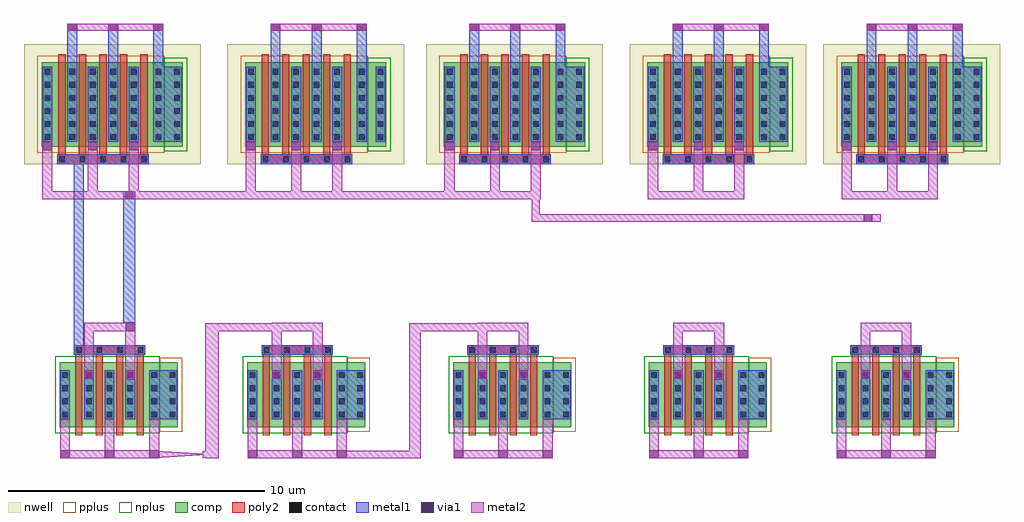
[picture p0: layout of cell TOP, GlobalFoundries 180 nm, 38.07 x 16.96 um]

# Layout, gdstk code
import gdstk
lib = gdstk.Library(unit=1e-6, precision=5e-09)
def R(c, l, rs):  # rectangles x0, y0, x1, y1
    for r in rs: c.add(gdstk.rectangle(r[:2], r[2:], *l))
def A(c, l, x, y, w, h, nx, ny, dx, dy):  # array of equal rectangles
    R(c, l, [(x+i*dx, y+j*dy, x+i*dx+w, y+j*dy+h) for i in range(nx) for j in range(ny)])
nwell = (21, 0)
comp = (22, 0)
poly2 = (30, 0)
pplus = (31, 0)
nplus = (32, 0)
contact = (33, 0)
metal1 = (34, 0)
via1 = (35, 0)
metal2 = (36, 0)

nfet_1 = lib.new_cell('nfet$1')
R(nfet_1, comp, [(-0.42,0,0,2.54), (0,0,3.06,2.54), (3.06,0,3.48,2.54), (3.48,0,4.19,2.54)])
A(nfet_1, poly2, 0.19, -0.3, 0.28, 3.14, 4, 1, 0.8, 0)
A(nfet_1, poly2, 0.15, 2.84, 0.36, 0.36, 4, 1, 0.8, 0)
R(nfet_1, pplus, [(3.48,-0.17,4.36,2.71)])
R(nfet_1, nplus, [(-0.59,-0.24,3.48,2.78)])
A(nfet_1, contact, -0.32, 0.395, 0.22, 0.22, 1, 4, 0, 0.51)
A(nfet_1, contact, 0.62, 0.395, 0.22, 0.22, 3, 4, 0.8, 0.51)
A(nfet_1, contact, 3.16, 0.395, 0.22, 0.22, 1, 4, 0, 0.51)
A(nfet_1, contact, 3.87, 0.395, 0.22, 0.22, 1, 4, 0, 0.51)
A(nfet_1, contact, 0.22, 2.91, 0.22, 0.22, 4, 1, 0.8, 0)
A(nfet_1, metal1, 0.54, 0.315, 0.38, 1.91, 3, 1, 0.8, 0)
A(nfet_1, metal1, 0.14, 2.83, 0.38, 0.38, 4, 1, 0.8, 0)
R(nfet_1, metal1, [(-0.4,0.315,-0.02,2.225), (3.08,0.315,3.46,2.225), (3.79,0.315,4.17,2.225)])

pfet = lib.new_cell('pfet')
R(pfet, nwell, [(-1.15,-0.69,5.74,3.99)])
R(pfet, comp, [(-0.46,0,0,3.3), (0,0,3.86,3.3), (3.86,0,4.32,3.3), (4.32,0,5.05,3.3)])
A(pfet, poly2, 0.14, -0.68, 0.38, 0.38, 5, 1, 0.8, 0)
A(pfet, poly2, 0.19, -0.3, 0.28, 3.9, 5, 1, 0.8, 0)
R(pfet, pplus, [(-0.63,-0.24,4.32,3.54)])
R(pfet, nplus, [(4.32,-0.17,5.22,3.47)])
A(pfet, contact, 0.22, -0.6, 0.22, 0.22, 5, 1, 0.8, 0)
A(pfet, contact, -0.34, 0.265, 0.22, 0.22, 1, 6, 0, 0.51)
A(pfet, contact, 0.62, 0.265, 0.22, 0.22, 4, 6, 0.8, 0.51)
A(pfet, contact, 3.98, 0.265, 0.22, 0.22, 1, 6, 0, 0.51)
A(pfet, contact, 4.71, 0.265, 0.22, 0.22, 1, 6, 0, 0.51)
A(pfet, metal1, 0.14, -0.68, 0.38, 0.38, 5, 1, 0.8, 0)
A(pfet, metal1, 0.54, 0.185, 0.38, 2.93, 4, 1, 0.8, 0)
R(pfet, metal1, [(-0.42,0.185,-0.04,3.115), (3.9,0.185,4.28,3.115), (4.63,0.185,5.01,3.115)])

top = lib.new_cell('TOP')
R(top, poly2, [(-51.475,10.355,-48.695,10.735), (-44.16,10.355,-41.38,10.735), (-36.13,10.355,-33.35,10.735), (-28.5,10.355,-25.72,10.735), (-21.19,10.355,-18.41,10.735), (-52.135,17.79,-48.555,18.17), (-44.2,17.79,-40.62,18.17), (-36.45,17.79,-32.87,18.17), (-28.515,17.79,-24.935,18.17), (-20.955,17.79,-17.375,18.17)])
R(top, metal1, [(-48.535,7.84,-47.445,9.75), (-41.22,7.84,-40.13,9.75), (-33.19,7.84,-32.1,9.75), (-25.56,7.84,-24.47,9.75), (-18.25,7.84,-17.16,9.75), (-51.475,10.355,-48.695,10.735), (-44.16,10.355,-41.38,10.735), (-36.13,10.355,-33.35,10.735), (-28.5,10.355,-25.72,10.735), (-21.19,10.355,-18.41,10.735), (-49.55,11.595,-49.095,16.73), (-52.135,17.79,-48.555,18.17), (-44.2,17.79,-40.62,18.17), (-36.45,17.79,-32.87,18.17), (-28.515,17.79,-25.735,18.17), (-20.955,17.79,-17.375,18.17), (-48.375,18.655,-47.265,21.585), (-32.69,18.655,-31.58,21.585), (-24.755,18.655,-23.645,21.585), (-17.195,18.655,-16.085,21.585), (-51.735,21.585,-51.355,23.275), (-50.135,21.585,-49.755,23.275), (-48.375,21.585,-47.995,23.275), (-43.8,21.585,-43.42,23.275), (-42.2,21.585,-41.82,23.275), (-40.44,21.585,-40.06,23.275), (-36.05,21.585,-35.67,23.275), (-34.45,21.585,-34.07,23.275), (-32.69,21.585,-32.31,23.275), (-28.115,21.585,-27.735,23.275), (-26.515,21.585,-26.135,23.275), (-24.755,21.585,-24.375,23.275), (-20.555,21.585,-20.175,23.275), (-18.955,21.585,-18.575,23.275), (-17.195,21.585,-16.815,23.275)])
R(top, via1, [(-52.015,6.31,-51.635,6.625), (-52.015,6.31,-51.635,6.625), (-50.275,6.31,-49.895,6.625), (-50.275,6.31,-49.895,6.625), (-48.535,6.31,-48.155,6.625), (-48.535,6.31,-48.155,6.625), (-44.7,6.31,-44.32,6.625), (-44.7,6.31,-44.32,6.625), (-42.96,6.31,-42.58,6.625), (-42.96,6.31,-42.58,6.625), (-41.22,6.31,-40.84,6.625), (-41.22,6.31,-40.84,6.625), (-36.67,6.31,-36.29,6.625), (-36.67,6.31,-36.29,6.625), (-34.93,6.31,-34.55,6.625), (-34.93,6.31,-34.55,6.625), (-33.19,6.31,-32.81,6.625), (-33.19,6.31,-32.81,6.625), (-29.04,6.31,-28.66,6.625), (-29.04,6.31,-28.66,6.625), (-27.3,6.31,-26.92,6.625), (-27.3,6.31,-26.92,6.625), (-25.56,6.31,-25.18,6.625), (-25.56,6.31,-25.18,6.625), (-21.73,6.31,-21.35,6.625), (-21.73,6.31,-21.35,6.625), (-19.99,6.31,-19.61,6.625), (-19.99,6.31,-19.61,6.625), (-18.25,6.31,-17.87,6.625), (-18.25,6.31,-17.87,6.625), (-49.475,9.385,-49.095,9.75), (-42.16,9.385,-41.78,9.75), (-34.13,9.385,-33.75,9.75), (-26.5,9.385,-26.12,9.75), (-19.19,9.385,-18.81,9.75), (-51.075,9.42,-50.695,9.75), (-43.76,9.42,-43.38,9.75), (-35.73,9.42,-35.35,9.75), (-28.1,9.42,-27.72,9.75), (-20.79,9.42,-20.41,9.75), (-49.45,11.265,-49.1,11.595), (-20.66,15.54,-20.33,15.84), (-49.485,16.415,-49.17,16.73), (-52.695,18.34,-52.315,18.655), (-50.93,18.34,-50.55,18.655), (-49.335,18.34,-48.955,18.655), (-44.76,18.34,-44.38,18.655), (-42.995,18.34,-42.615,18.655), (-41.4,18.34,-41.02,18.655), (-37.01,18.34,-36.63,18.655), (-35.245,18.34,-34.865,18.655), (-33.65,18.34,-33.27,18.655), (-29.075,18.34,-28.695,18.655), (-27.31,18.34,-26.93,18.655), (-25.715,18.34,-25.335,18.655), (-21.515,18.34,-21.135,18.655), (-19.75,18.34,-19.37,18.655), (-18.155,18.34,-17.775,18.655), (-51.735,22.985,-51.355,23.275), (-51.735,22.985,-51.355,23.275), (-50.135,22.985,-49.755,23.275), (-48.375,22.985,-47.995,23.275), (-43.8,22.985,-43.42,23.275), (-43.8,22.985,-43.42,23.275), (-42.2,22.985,-41.82,23.275), (-40.44,22.985,-40.06,23.275), (-36.05,22.985,-35.67,23.275), (-36.05,22.985,-35.67,23.275), (-34.45,22.985,-34.07,23.275), (-32.69,22.985,-32.31,23.275), (-28.115,22.985,-27.735,23.275), (-28.115,22.985,-27.735,23.275), (-26.515,22.985,-26.135,23.275), (-24.755,22.985,-24.375,23.275), (-20.555,22.985,-20.175,23.275), (-20.555,22.985,-20.175,23.275), (-18.955,22.985,-18.575,23.275), (-17.195,22.985,-16.815,23.275)])
R(top, metal2, [(-52.015,6.31,-51.635,7.84), (-52.015,6.31,-51.635,7.84), (-52.015,6.31,-48.155,6.625), (-50.275,6.31,-49.895,7.84), (-50.275,6.31,-49.895,7.84), (-48.535,6.31,-48.155,7.84), (-48.535,6.31,-48.155,7.84), (-44.7,6.31,-44.32,7.84), (-44.7,6.31,-44.32,7.84), (-44.7,6.31,-40.84,6.625), (-42.96,6.31,-42.58,7.84), (-42.96,6.31,-42.58,7.84), (-41.22,6.31,-40.84,7.84), (-41.22,6.31,-40.84,7.84), (-36.67,6.31,-36.29,7.84), (-36.67,6.31,-36.29,7.84), (-36.67,6.31,-32.81,6.625), (-34.93,6.31,-34.55,7.84), (-34.93,6.31,-34.55,7.84), (-33.19,6.31,-32.81,7.84), (-33.19,6.31,-32.81,7.84), (-29.04,6.31,-28.66,7.84), (-29.04,6.31,-28.66,7.84), (-29.04,6.31,-25.18,6.625), (-27.3,6.31,-26.92,7.84), (-27.3,6.31,-26.92,7.84), (-25.56,6.31,-25.18,7.84), (-25.56,6.31,-25.18,7.84), (-21.73,6.31,-21.35,7.84), (-21.73,6.31,-21.35,7.84), (-21.73,6.31,-17.87,6.625), (-19.99,6.31,-19.61,7.84), (-19.99,6.31,-19.61,7.84), (-18.25,6.31,-17.87,7.84), (-18.25,6.31,-17.87,7.84), (-46.355,6.315,-45.825,11.58), (-38.39,6.32,-37.94,11.58), (-49.475,9.385,-49.095,11.595), (-42.16,9.385,-41.78,11.595), (-34.13,9.385,-33.75,11.595), (-26.5,9.385,-26.12,11.595), (-19.19,9.385,-18.81,11.595), (-51.075,9.42,-50.695,11.595), (-43.76,9.42,-43.38,11.595), (-35.73,9.42,-35.35,11.595), (-28.1,9.42,-27.72,11.595), (-20.79,9.42,-20.41,11.595), (-51.075,11.265,-49.095,11.595), (-49.55,11.265,-49.095,11.595), (-43.76,11.265,-41.78,11.595), (-35.73,11.265,-33.75,11.595), (-28.1,11.265,-26.12,11.595), (-20.79,11.265,-18.81,11.595), (-52.71,16.415,-52.315,18.655), (-52.71,16.415,-48.97,16.73), (-50.93,16.415,-50.55,18.655), (-49.335,16.415,-48.955,18.655), (-48.97,16.415,-33.285,16.73), (-44.775,16.415,-44.38,18.655), (-44.775,16.415,-41.035,16.73), (-42.995,16.415,-42.615,18.655), (-41.4,16.415,-41.02,18.655), (-37.025,16.415,-36.63,18.655), (-37.025,16.415,-33.285,16.73), (-35.245,16.415,-34.865,18.655), (-33.65,16.415,-33.27,18.655), (-29.09,16.415,-28.695,18.655), (-29.09,16.415,-25.35,16.73), (-27.31,16.415,-26.93,18.655), (-25.715,16.415,-25.335,18.655), (-21.53,16.415,-21.135,18.655), (-21.53,16.415,-17.79,16.73), (-19.75,16.415,-19.37,18.655), (-18.155,16.415,-17.775,18.655), (-51.735,22.985,-47.995,23.275), (-43.8,22.985,-40.06,23.275), (-36.05,22.985,-32.31,23.275), (-28.115,22.985,-24.375,23.275), (-20.555,22.985,-16.815,23.275)])
top.add(gdstk.FlexPath([(-51.285,10.735),(-51.285,17.89)], 0.4, ends="flush", simple_path=True, layer=34, datatype=0))  # metal1
top.add(gdstk.FlexPath([(-43.76,11.43),(-46.355,11.43)], 0.3, ends="flush", simple_path=True, layer=36, datatype=0))  # metal2
top.add(gdstk.FlexPath([(-48.345,6.465),(-45.975,6.465),(-46.46,6.465)], 0.3, ends="flush", simple_path=True, layer=36, datatype=0))  # metal2
top.add(gdstk.FlexPath([(-40.84,6.47),(-37.94,6.47)], 0.3, ends="flush", simple_path=True, layer=36, datatype=0))  # metal2
top.add(gdstk.FlexPath([(-35.73,11.43),(-38.39,11.43)], 0.3, ends="flush", simple_path=True, layer=36, datatype=0))  # metal2
top.add(gdstk.FlexPath([(-33.46,16.415),(-33.46,15.69),(-20.01,15.69)], 0.3, ends="flush", simple_path=True, layer=36, datatype=0))  # metal2
top.add(gdstk.Reference(nfet_1, (-21.33,7.525)))
top.add(gdstk.Reference(pfet, (-36.59,18.47)))
top.add(gdstk.Reference(pfet, (-21.095,18.47)))
top.add(gdstk.Reference(pfet, (-52.275,18.47)))
top.add(gdstk.Reference(pfet, (-44.34,18.47)))
top.add(gdstk.Reference(pfet, (-28.655,18.47)))
top.add(gdstk.Reference(nfet_1, (-51.615,7.525)))
top.add(gdstk.Reference(nfet_1, (-36.27,7.525)))
top.add(gdstk.Reference(nfet_1, (-28.64,7.525)))
top.add(gdstk.Reference(nfet_1, (-44.3,7.525)))

lib.write_gds('TOP.gds')
